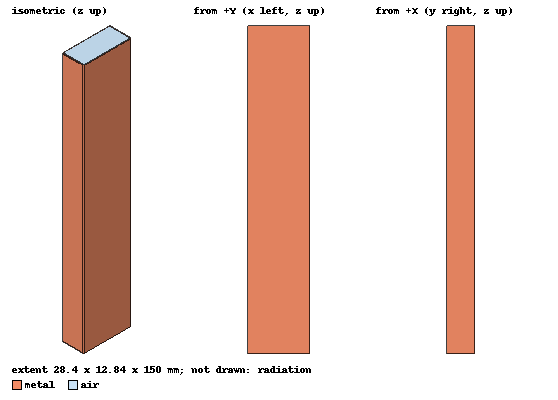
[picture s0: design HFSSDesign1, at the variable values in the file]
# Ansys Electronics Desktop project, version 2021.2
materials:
  vacuum: permittivity=1
  copper: permeability=0.999991 conductivity=58000000
  air: permittivity=1.0006 permeability=1.0000004

design HFSSDesign1 (HFSS, DrivenModal, model units mm)
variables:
  a = 28mm
  b = 12.44mm
  L = 150mm
  th = 0.2mm
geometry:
  Box1 = box(corner=(-a/2, -b/2, 0mm), size=(a, b, L))
  metal [copper] = box(corner=(-a/2-th, -b/2-th, 0mm), size=(a+2*th, b+2*th, L))
  metal.subtract(Box1)
  air [air] = box(corner=(-a/2, -b/2, 0mm), size=(a, b, L))
  radiation [air] = box(corner=(-a/2-5mm, -b/2-5mm, 0mm), size=(a+10mm, b+10mm, L))
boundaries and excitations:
  Rad1: Radiation Objects=radiation
  1: Wave Port Faces=air.face(-z) NumModes=4 Modes{Mode1{IntLine{middle of air.edge(6 of 12) -> middle of air.edge(8 of 12)} CharImp=Zpi} Mode2{CharImp=Zpi} Mode3{CharImp=Zpi} Mode4{CharImp=Zpi}}
  2: Wave Port Faces=air.face(+z) NumModes=4 Modes{Mode1{IntLine{middle of air.edge(4 of 12) -> middle of air.edge(2 of 12)} CharImp=Zpi} Mode2{CharImp=Zpi} Mode3{CharImp=Zpi} Mode4{CharImp=Zpi}}
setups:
  Setup1: HfssDriven Frequency=5.2GHz MaxDeltaS=0.02 MaximumPasses=12 MinimumPasses=1 MinimumConvergedPasses=1 PercentRefinement=30 BasisOrder=1 PortAccuracy=2
    sweep Sweep: 2.6GHz to 7GHz step 0.013GHz; 5.2GHz to 5.2GHz, 1 points; Type=Fast SaveFields
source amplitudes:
  1:1: 1W 0deg
  1:2, 1:3, 1:4, 2:1..2:4: 0W 0deg
